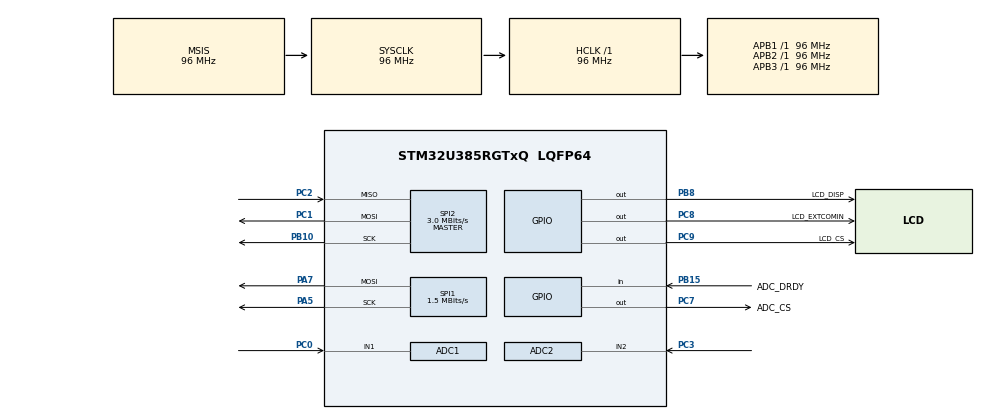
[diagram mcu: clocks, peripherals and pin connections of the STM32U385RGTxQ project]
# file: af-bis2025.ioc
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ADC1.Channel-0\#ChannelRegularConversion=ADC_CHANNEL_1
ADC1.MonitoredBy-0\#ChannelRegularConversion=__NULL
ADC1.NbrOfConversionFlag=1
ADC1.OffsetNumber-0\#ChannelRegularConversion=ADC_OFFSET_NONE
ADC1.Rank-0\#ChannelRegularConversion=1
ADC1.SamplingTime-0\#ChannelRegularConversion=ADC_SAMPLETIME_1CYCLE_5
ADC1.master=1
ADC2.Channel-0\#ChannelRegularConversion=ADC_CHANNEL_2
ADC2.MonitoredBy-0\#ChannelRegularConversion=__NULL
ADC2.NbrOfConversionFlag=1
ADC2.OffsetNumber-0\#ChannelRegularConversion=ADC_OFFSET_NONE
ADC2.Rank-0\#ChannelRegularConversion=1
ADC2.SamplingTime-0\#ChannelRegularConversion=ADC_SAMPLETIME_1CYCLE_5
CORTEX_M33_NS.userName=CORTEX_M33
Mcu.Family=STM32U3
Mcu.Name=STM32U385RGTxQ
Mcu.Package=LQFP64
NUCLEO-U385RG-Q.BUTTON=1
NUCLEO-U385RG-Q.VCP=true
NVIC.EXTI13_IRQn=true\:0\:0\:false\:false\:true\:false\:true\:true
NVIC.PriorityGroup=NVIC_PRIORITYGROUP_4
PA10.Signal=USART1_RX
PA13\ (JTMS/SWDIO).GPIO_Label=DEBUG_JTMS-SWDIO
PA13\ (JTMS/SWDIO).Signal=DEBUG_JTMS-SWDIO
PA14\ (JTCK/SWCLK).GPIO_Label=DEBUG_JTCK-SWCLK
PA14\ (JTCK/SWCLK).Signal=DEBUG_JTCK-SWCLK
PA15\ (JTDI).GPIO_Label=DEBUG_JTDI
PA15\ (JTDI).Signal=DEBUG_JTDI
PA5.Mode=TX_Only_Simplex_Unidirect_Master
PA5.Signal=SPI1_SCK
PA7.Mode=TX_Only_Simplex_Unidirect_Master
PA7.Signal=SPI1_MOSI
PA9.Signal=USART1_TX
PB10.Mode=Full_Duplex_Master
PB10.Signal=SPI2_SCK
PB15.GPIO_Label=ADC_DRDY
PB15.Signal=GPIO_Input
PB3\ (JTDO/TRACESWO).GPIO_Label=DEBUG_JTDO-SWO
PB3\ (JTDO/TRACESWO).Signal=DEBUG_JTDO-SWO
PB8.GPIO_Label=LCD_DISP
PB8.Signal=GPIO_Output
PC0.Mode=IN1-Single-Ended
PC0.Signal=ADC1_IN1
PC1.Mode=Full_Duplex_Master
PC1.Signal=SPI2_MOSI
PC14-OSC32_IN\ (PC14).GPIO_Label=RCC_OSC32_IN
PC14-OSC32_IN\ (PC14).Signal=RCC_OSC32_IN
PC15-OSC32_OUT\ (PC15).GPIO_Label=RCC_OSC32_OUT
PC15-OSC32_OUT\ (PC15).Signal=RCC_OSC32_OUT
PC2.Mode=Full_Duplex_Master
PC2.Signal=SPI2_MISO
PC3.Mode=IN2-Single-Ended
PC3.Signal=ADC2_IN2
PC7.GPIO_Label=ADC_CS
PC7.Signal=GPIO_Output
PC8.GPIO_Label=LCD_EXTCOMIN
PC8.Signal=GPIO_Output
PC9.GPIO_Label=LCD_CS
PC9.Signal=GPIO_Output
ProjectManager.HeapSize=0x200
ProjectManager.StackSize=0x400
ProjectManager.TargetToolchain=CMake
RCC.ADCFreq_Value=96000000
RCC.AHBFreq_Value=96000000
RCC.APB1Freq_Value=96000000
RCC.APB1TimFreq_Value=96000000
RCC.APB2Freq_Value=96000000
RCC.APB2TimFreq_Value=96000000
RCC.APB3Freq_Value=96000000
RCC.CortexFreq_Value=12000000
RCC.HCLKFreq_Value=96000000
RCC.HSE_VALUE=16000000
RCC.HSI48_VALUE=48000000
RCC.HSI_VALUE=16000000
RCC.LSE_VALUE=32768
RCC.LSIDIV_VALUE=32000
RCC.MSISDIV=RCC_MSI_DIV1
RCC.SYSCLKFreq_VALUE=96000000
RCC.USBFreq_Value=48000000
RCC.USB_DIV=RCC_USB1CLKSOURCE_ICLK_DIV2
SPI1.BaudRatePrescaler=SPI_BAUDRATEPRESCALER_64
SPI1.CalculateBaudRate=1.5 MBits/s
SPI1.DataSize=SPI_DATASIZE_8BIT
SPI1.Direction=SPI_DIRECTION_2LINES_TXONLY
SPI1.Mode=SPI_MODE_MASTER
SPI1.VirtualType=VM_MASTER
SPI2.BaudRatePrescaler=SPI_BAUDRATEPRESCALER_32
SPI2.CLKPhase=SPI_PHASE_2EDGE
SPI2.CalculateBaudRate=3.0 MBits/s
SPI2.DataSize=SPI_DATASIZE_8BIT
SPI2.Direction=SPI_DIRECTION_2LINES
SPI2.Mode=SPI_MODE_MASTER
SPI2.VirtualType=VM_MASTER
VP_MEMORYMAP_VS_MEMORYMAP.Mode=CurAppReg
VP_NUCLEO-U385RG-Q_VS_BSP_COMMON.Mode=COMMON
VP_PWR_VS_DBSignals.Mode=DisableDeadBatterySignals
VP_PWR_VS_LPOM.Mode=PowerOptimisation
VP_PWR_VS_SECSignals.Mode=Security/Privilege
board=NUCLEO-U385RG-Q

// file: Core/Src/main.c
/* USER CODE BEGIN Header */
/**
  ******************************************************************************
  * @file           : main.c
  * @brief          : Main program body
  ******************************************************************************
  * @attention
  *
  * Copyright (c) 2026 STMicroelectronics.
  * All rights reserved.
  *
  * This software is licensed under terms that can be found in the LICENSE file
  * in the root directory of this software component.
  * If no LICENSE file comes with this software, it is provided AS-IS.
  *
  ******************************************************************************
  */
/* USER CODE END Header */
#include "main.h"

/* USER CODE BEGIN Includes */
#include <stdio.h>
#include "stm32u3xx_nucleo.h"
#include "ads1220.h"
#include "lcd.h"
/* USER CODE END Includes */

COM_InitTypeDef BspCOMInit;
ADC_HandleTypeDef hadc1;
ADC_HandleTypeDef hadc2;

SPI_HandleTypeDef hspi1;
SPI_HandleTypeDef hspi2;

void SystemClock_Config(void);
static void MX_GPIO_Init(void);
static void MX_SPI1_Init(void);
static void MX_ADC1_Init(void);
static void MX_ADC2_Init(void);
static void MX_SPI2_Init(void);

int main(void)
{

  /* MCU Configuration--------------------------------------------------------*/

  /* Reset of all peripherals, Initializes the Flash interface and the Systick. */
  HAL_Init();

  /* Configure the system clock */
  SystemClock_Config();

  /* Initialize all configured peripherals */
  MX_GPIO_Init();
  MX_SPI1_Init();
  MX_ADC1_Init();
  MX_ADC2_Init();
  MX_SPI2_Init();
  /* USER CODE BEGIN 2 */
  ADS1220_Init();
  ADS1220_StartConversion();

  LCD_Config_t lcd_config = {
      .hspi = &hspi1,
      .cs_port = LCD_CS_GPIO_Port,
      .cs_pin = LCD_CS_Pin,
      .disp_port = LCD_DISP_GPIO_Port,
      .disp_pin = LCD_DISP_Pin,
      .width = 176,
      .height = 176
  };
  LCD_Init(&lcd_config);
  /* USER CODE END 2 */

  /* Initialize USER push-button, will be used to trigger an interrupt each time it's pressed.*/
  BSP_PB_Init(BUTTON_USER, BUTTON_MODE_EXTI);

  /* Initialize COM1 port (115200, 8 bits (7-bit data + 1 stop bit), no parity */
  BspCOMInit.BaudRate   = 115200;
  BspCOMInit.WordLength = COM_WORDLENGTH_8B;
  BspCOMInit.StopBits   = COM_STOPBITS_1;
  BspCOMInit.Parity     = COM_PARITY_NONE;
  BspCOMInit.HwFlowCtl  = COM_HWCONTROL_NONE;
  if (BSP_COM_Init(COM1, &BspCOMInit) != BSP_ERROR_NONE)
  {
    Error_Handler();
  }

  /* Infinite loop */
  /* USER CODE BEGIN WHILE */
  while (1)
  {
    // CH1測定 (AIN0-AIN1)
    ADS1220_SetChannel(ADS1220_CH1);
    ADS1220_StartConversion();
    while (HAL_GPIO_ReadPin(ADC_DRDY_GPIO_Port, ADC_DRDY_Pin) == GPIO_PIN_SET);
    int32_t adc1 = ADS1220_ReadData();
    float v1 = ADS1220_ConvertToVoltage(adc1);
    float i1 = ADS1220_ConvertToCurrent(v1);

    // CH2測定 (AIN2-AIN3)
    ADS1220_SetChannel(ADS1220_CH2);
    ADS1220_StartConversion();
    while (HAL_GPIO_ReadPin(ADC_DRDY_GPIO_Port, ADC_DRDY_Pin) == GPIO_PIN_SET);
    int32_t adc2 = ADS1220_ReadData();
    float v2 = ADS1220_ConvertToVoltage(adc2);
    float i2 = ADS1220_ConvertToCurrent(v2);

    printf("CH1 V:%.6f V, I:%.3f uA | CH2 V:%.6f V, I:%.3f uA\r\n",
           v1, i1 * 1e6f, v2, i2 * 1e6f);

    // LCD表示 (scale=10で大きく2行表示)
    char lcd_buf[12];
    snprintf(lcd_buf, sizeof(lcd_buf), "%.3fV", voltage);
    LCD_DrawString4bitScaled(0, lcd_buf, 10);
    snprintf(lcd_buf, sizeof(lcd_buf), "%.1fuA", current * 1e6f);
    LCD_DrawString4bitScaled(88, lcd_buf, 10);

    HAL_Delay(100);
    /* USER CODE END WHILE */

  }
}

void SystemClock_Config(void)
{
  RCC_OscInitTypeDef RCC_OscInitStruct = {0};
  RCC_ClkInitTypeDef RCC_ClkInitStruct = {0};

  /** Configure the System Power Supply
  */
  if (HAL_PWREx_ConfigSupply(PWR_SMPS_SUPPLY) != HAL_OK)
  {
    Error_Handler();
  }

  /** Enable Epod Booster
  */
  if (HAL_RCCEx_EpodBoosterClkConfig(RCC_EPODBOOSTER_SOURCE_MSIS, RCC_EPODBOOSTER_DIV1) != HAL_OK)
  {
    Error_Handler();
  }
  if (HAL_PWREx_EnableEpodBooster() != HAL_OK)
  {
    Error_Handler();
  }

  /** Configure the main internal regulator output voltage
  */
  if (HAL_PWREx_ControlVoltageScaling(PWR_REGULATOR_VOLTAGE_SCALE1) != HAL_OK)
  {
    Error_Handler();
  }

  /** Set Flash latency before increasing MSIS
  */
  __HAL_FLASH_SET_LATENCY(FLASH_LATENCY_2);

  /** Initializes the CPU, AHB and APB buses clocks
  */
  RCC_OscInitStruct.OscillatorType = RCC_OSCILLATORTYPE_MSIS;
  RCC_OscInitStruct.MSISState = RCC_MSI_ON;
  RCC_OscInitStruct.MSISSource = RCC_MSI_RC0;
  RCC_OscInitStruct.MSISDiv = RCC_MSI_DIV1;
  if (HAL_RCC_OscConfig(&RCC_OscInitStruct) != HAL_OK)
  {
    Error_Handler();
  }

  /** Initializes the CPU, AHB and APB buses clocks
  */
  RCC_ClkInitStruct.ClockType = RCC_CLOCKTYPE_HCLK|RCC_CLOCKTYPE_SYSCLK
                              |RCC_CLOCKTYPE_PCLK1|RCC_CLOCKTYPE_PCLK2
                              |RCC_CLOCKTYPE_PCLK3;
  RCC_ClkInitStruct.SYSCLKSource = RCC_SYSCLKSOURCE_MSIS;
  RCC_ClkInitStruct.AHBCLKDivider = RCC_SYSCLK_DIV1;
  RCC_ClkInitStruct.APB1CLKDivider = RCC_HCLK_DIV1;
  RCC_ClkInitStruct.APB2CLKDivider = RCC_HCLK_DIV1;
  RCC_ClkInitStruct.APB3CLKDivider = RCC_HCLK_DIV1;

  if (HAL_RCC_ClockConfig(&RCC_ClkInitStruct, FLASH_LATENCY_2) != HAL_OK)
  {
    Error_Handler();
  }
}

static void MX_ADC1_Init(void)
{

  ADC_ChannelConfTypeDef sConfig = {0};

  /** Common config
  */
  hadc1.Instance = ADC1;
  hadc1.Init.Resolution = ADC_RESOLUTION_12B;
  hadc1.Init.GainCompensation = 0;
  hadc1.Init.ScanConvMode = ADC_SCAN_DISABLE;
  hadc1.Init.EOCSelection = ADC_EOC_SINGLE_CONV;
  hadc1.Init.LowPowerAutoWait = DISABLE;
  hadc1.Init.ContinuousConvMode = DISABLE;
  hadc1.Init.NbrOfConversion = 1;
  hadc1.Init.DiscontinuousConvMode = DISABLE;
  hadc1.Init.ExternalTrigConv = ADC_SOFTWARE_START;
  hadc1.Init.ExternalTrigConvEdge = ADC_EXTERNALTRIGCONVEDGE_NONE;
  hadc1.Init.Overrun = ADC_OVR_DATA_PRESERVED;
  hadc1.Init.LeftBitShift = ADC_LEFTBITSHIFT_NONE;
  hadc1.Init.ConversionDataManagement = ADC_CONVERSIONDATA_DR;
  hadc1.Init.OversamplingMode = DISABLE;
  if (HAL_ADC_Init(&hadc1) != HAL_OK)
  {
    Error_Handler();
  }

  /** Configure Regular Channel
  */
  sConfig.Channel = ADC_CHANNEL_1;
  sConfig.Rank = ADC_REGULAR_RANK_1;
  sConfig.SamplingTime = ADC_SAMPLETIME_1CYCLE_5;
  sConfig.OffsetNumber = ADC_OFFSET_NONE;
  sConfig.Offset = 0;
  if (HAL_ADC_ConfigChannel(&hadc1, &sConfig) != HAL_OK)
  {
    Error_Handler();
  }

}

static void MX_ADC2_Init(void)
{

  ADC_ChannelConfTypeDef sConfig = {0};

  /** Common config
  */
  hadc2.Instance = ADC2;
  hadc2.Init.Resolution = ADC_RESOLUTION_12B;
  hadc2.Init.GainCompensation = 0;
  hadc2.Init.ScanConvMode = ADC_SCAN_DISABLE;
  hadc2.Init.EOCSelection = ADC_EOC_SINGLE_CONV;
  hadc2.Init.LowPowerAutoWait = DISABLE;
  hadc2.Init.ContinuousConvMode = DISABLE;
  hadc2.Init.NbrOfConversion = 1;
  hadc2.Init.DiscontinuousConvMode = DISABLE;
  hadc2.Init.ExternalTrigConv = ADC_SOFTWARE_START;
  hadc2.Init.ExternalTrigConvEdge = ADC_EXTERNALTRIGCONVEDGE_NONE;
  hadc2.Init.Overrun = ADC_OVR_DATA_PRESERVED;
  hadc2.Init.LeftBitShift = ADC_LEFTBITSHIFT_NONE;
  hadc2.Init.ConversionDataManagement = ADC_CONVERSIONDATA_DR;
  hadc2.Init.OversamplingMode = DISABLE;
  if (HAL_ADC_Init(&hadc2) != HAL_OK)
  {
    Error_Handler();
  }

  /** Configure Regular Channel
  */
  sConfig.Channel = ADC_CHANNEL_2;
  sConfig.Rank = ADC_REGULAR_RANK_1;
  sConfig.SamplingTime = ADC_SAMPLETIME_1CYCLE_5;
  sConfig.OffsetNumber = ADC_OFFSET_NONE;
  sConfig.Offset = 0;
  if (HAL_ADC_ConfigChannel(&hadc2, &sConfig) != HAL_OK)
  {
    Error_Handler();
  }

}

static void MX_SPI1_Init(void)
{

  SPI_AutonomousModeConfTypeDef HAL_SPI_AutonomousMode_Cfg_Struct = {0};

  /* SPI1 parameter configuration*/
  hspi1.Instance = SPI1;
  hspi1.Init.Mode = SPI_MODE_MASTER;
  hspi1.Init.Direction = SPI_DIRECTION_2LINES_TXONLY;
  hspi1.Init.DataSize = SPI_DATASIZE_8BIT;
  hspi1.Init.CLKPolarity = SPI_POLARITY_LOW;
  hspi1.Init.CLKPhase = SPI_PHASE_1EDGE;
  hspi1.Init.NSS = SPI_NSS_SOFT;
  hspi1.Init.BaudRatePrescaler = SPI_BAUDRATEPRESCALER_64;
  hspi1.Init.FirstBit = SPI_FIRSTBIT_MSB;
  hspi1.Init.TIMode = SPI_TIMODE_DISABLE;
  hspi1.Init.CRCCalculation = SPI_CRCCALCULATION_DISABLE;
  hspi1.Init.CRCPolynomial = 0x7;
  hspi1.Init.NSSPMode = SPI_NSS_PULSE_ENABLE;
  hspi1.Init.NSSPolarity = SPI_NSS_POLARITY_LOW;
  hspi1.Init.FifoThreshold = SPI_FIFO_THRESHOLD_01DATA;
  hspi1.Init.MasterSSIdleness = SPI_MASTER_SS_IDLENESS_00CYCLE;
  hspi1.Init.MasterInterDataIdleness = SPI_MASTER_INTERDATA_IDLENESS_00CYCLE;
  hspi1.Init.MasterReceiverAutoSusp = SPI_MASTER_RX_AUTOSUSP_DISABLE;
  hspi1.Init.MasterKeepIOState = SPI_MASTER_KEEP_IO_STATE_DISABLE;
  hspi1.Init.IOSwap = SPI_IO_SWAP_DISABLE;
  hspi1.Init.ReadyMasterManagement = SPI_RDY_MASTER_MANAGEMENT_INTERNALLY;
  hspi1.Init.ReadyPolarity = SPI_RDY_POLARITY_HIGH;
  if (HAL_SPI_Init(&hspi1) != HAL_OK)
  {
    Error_Handler();
  }
  HAL_SPI_AutonomousMode_Cfg_Struct.TriggerState = SPI_AUTO_MODE_DISABLE;
  HAL_SPI_AutonomousMode_Cfg_Struct.TriggerSelection = SPI_GRP1_GPDMA_CH0_TCF_TRG;
  HAL_SPI_AutonomousMode_Cfg_Struct.TriggerPolarity = SPI_TRIG_POLARITY_RISING;
  if (HAL_SPIEx_SetConfigAutonomousMode(&hspi1, &HAL_SPI_AutonomousMode_Cfg_Struct) != HAL_OK)
  {
    Error_Handler();
  }

}

static void MX_SPI2_Init(void)
{

  SPI_AutonomousModeConfTypeDef HAL_SPI_AutonomousMode_Cfg_Struct = {0};

  /* SPI2 parameter configuration*/
  hspi2.Instance = SPI2;
  hspi2.Init.Mode = SPI_MODE_MASTER;
  hspi2.Init.Direction = SPI_DIRECTION_2LINES;
  hspi2.Init.DataSize = SPI_DATASIZE_8BIT;
  hspi2.Init.CLKPolarity = SPI_POLARITY_LOW;
  hspi2.Init.CLKPhase = SPI_PHASE_2EDGE;
  hspi2.Init.NSS = SPI_NSS_SOFT;
  hspi2.Init.BaudRatePrescaler = SPI_BAUDRATEPRESCALER_32;
  hspi2.Init.FirstBit = SPI_FIRSTBIT_MSB;
  hspi2.Init.TIMode = SPI_TIMODE_DISABLE;
  hspi2.Init.CRCCalculation = SPI_CRCCALCULATION_DISABLE;
  hspi2.Init.CRCPolynomial = 0x7;
  hspi2.Init.NSSPMode = SPI_NSS_PULSE_DISABLE;
  hspi2.Init.NSSPolarity = SPI_NSS_POLARITY_LOW;
  hspi2.Init.FifoThreshold = SPI_FIFO_THRESHOLD_01DATA;
  hspi2.Init.MasterSSIdleness = SPI_MASTER_SS_IDLENESS_00CYCLE;
  hspi2.Init.MasterInterDataIdleness = SPI_MASTER_INTERDATA_IDLENESS_00CYCLE;
  hspi2.Init.MasterReceiverAutoSusp = SPI_MASTER_RX_AUTOSUSP_DISABLE;
  hspi2.Init.MasterKeepIOState = SPI_MASTER_KEEP_IO_STATE_DISABLE;
  hspi2.Init.IOSwap = SPI_IO_SWAP_DISABLE;
  hspi2.Init.ReadyMasterManagement = SPI_RDY_MASTER_MANAGEMENT_INTERNALLY;
  hspi2.Init.ReadyPolarity = SPI_RDY_POLARITY_HIGH;
  if (HAL_SPI_Init(&hspi2) != HAL_OK)
  {
    Error_Handler();
  }
  HAL_SPI_AutonomousMode_Cfg_Struct.TriggerState = SPI_AUTO_MODE_DISABLE;
  HAL_SPI_AutonomousMode_Cfg_Struct.TriggerSelection = SPI_GRP1_GPDMA_CH0_TCF_TRG;
  HAL_SPI_AutonomousMode_Cfg_Struct.TriggerPolarity = SPI_TRIG_POLARITY_RISING;
  if (HAL_SPIEx_SetConfigAutonomousMode(&hspi2, &HAL_SPI_AutonomousMode_Cfg_Struct) != HAL_OK)
  {
    Error_Handler();
  }

}

static void MX_GPIO_Init(void)
{
  GPIO_InitTypeDef GPIO_InitStruct = {0};

  /* GPIO Ports Clock Enable */
  __HAL_RCC_GPIOC_CLK_ENABLE();
  __HAL_RCC_GPIOA_CLK_ENABLE();
  __HAL_RCC_GPIOB_CLK_ENABLE();

  /*Configure GPIO pin Output Level */
  HAL_GPIO_WritePin(GPIOC, ADC_CS_Pin|LCD_EXTCOMIN_Pin|LCD_CS_Pin|LCD_DISP_Pin, GPIO_PIN_RESET);

  /*Configure GPIO pin : ADC_DRDY_Pin */
  GPIO_InitStruct.Pin = ADC_DRDY_Pin;
  GPIO_InitStruct.Mode = GPIO_MODE_INPUT;
  GPIO_InitStruct.Pull = GPIO_NOPULL;
  HAL_GPIO_Init(ADC_DRDY_GPIO_Port, &GPIO_InitStruct);

  /*Configure GPIO pins : ADC_CS_Pin LCD_EXTCOMIN_Pin LCD_CS_Pin LCD_DISP_Pin */
  GPIO_InitStruct.Pin = ADC_CS_Pin|LCD_EXTCOMIN_Pin|LCD_CS_Pin|LCD_DISP_Pin;
  GPIO_InitStruct.Mode = GPIO_MODE_OUTPUT_PP;
  GPIO_InitStruct.Pull = GPIO_NOPULL;
  GPIO_InitStruct.Speed = GPIO_SPEED_FREQ_LOW;
  HAL_GPIO_Init(GPIOC, &GPIO_InitStruct);

}

void Error_Handler(void)
{
  __disable_irq();
  while (1)
  {
  }
}
